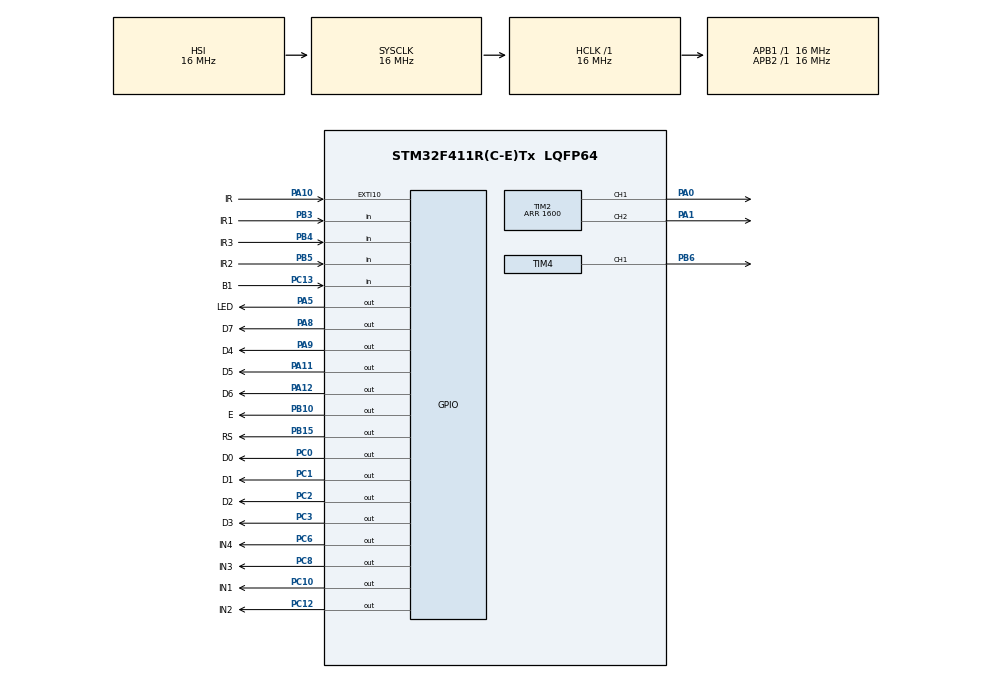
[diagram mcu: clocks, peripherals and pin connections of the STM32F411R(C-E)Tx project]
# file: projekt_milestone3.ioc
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Mcu.Family=STM32F4
Mcu.Name=STM32F411R(C-E)Tx
Mcu.Package=LQFP64
NVIC.EXTI15_10_IRQn=true\:0\:0\:false\:false\:true\:true\:true\:true
NVIC.PriorityGroup=NVIC_PRIORITYGROUP_4
PA0-WKUP.Signal=S_TIM2_CH1_ETR
PA1.Signal=S_TIM2_CH2
PA10.GPIO_Label=IR
PA10.GPIO_ModeDefaultEXTI=GPIO_MODE_IT_RISING_FALLING
PA10.Signal=GPXTI10
PA11.GPIO_Label=D5
PA11.Signal=GPIO_Output
PA12.GPIO_Label=D6
PA12.Signal=GPIO_Output
PA5.GPIO_Label=LED
PA5.Signal=GPIO_Output
PA8.GPIO_Label=D7
PA8.Signal=GPIO_Output
PA9.GPIO_Label=D4
PA9.Signal=GPIO_Output
PB10.GPIO_Label=E
PB10.Signal=GPIO_Output
PB15.GPIO_Label=RS
PB15.Signal=GPIO_Output
PB3.GPIO_Label=IR1
PB3.Signal=GPIO_Input
PB4.GPIO_Label=IR3
PB4.Signal=GPIO_Input
PB5.GPIO_Label=IR2
PB5.Signal=GPIO_Input
PB6.Signal=S_TIM4_CH1
PC0.GPIO_Label=D0
PC0.Signal=GPIO_Output
PC1.GPIO_Label=D1
PC1.Signal=GPIO_Output
PC10.GPIO_Label=IN1
PC10.Signal=GPIO_Output
PC12.GPIO_Label=IN2
PC12.Signal=GPIO_Output
PC13-ANTI_TAMP.GPIO_Label=B1
PC13-ANTI_TAMP.Signal=GPIO_Input
PC2.GPIO_Label=D2
PC2.Signal=GPIO_Output
PC3.GPIO_Label=D3
PC3.Signal=GPIO_Output
PC6.GPIO_Label=IN4
PC6.Signal=GPIO_Output
PC8.GPIO_Label=IN3
PC8.Signal=GPIO_Output
ProjectManager.HeapSize=0x200
ProjectManager.StackSize=0x400
ProjectManager.TargetToolchain=STM32CubeIDE
RCC.AHBFreq_Value=16000000
RCC.APB1Freq_Value=16000000
RCC.APB2Freq_Value=16000000
RCC.CortexFreq_Value=16000000
RCC.HSE_VALUE=25000000
RCC.HSI_VALUE=16000000
RCC.LSE_VALUE=32768
RCC.SYSCLKFreq_VALUE=16000000
RCC.VCOOutputFreq_Value=192000000
SH.S_TIM2_CH1_ETR.0=TIM2_CH1,PWM Generation1 CH1
SH.S_TIM2_CH2.0=TIM2_CH2,PWM Generation2 CH2
SH.S_TIM4_CH1.0=TIM4_CH1,PWM Generation1 CH1
TIM2.Channel-PWM\ Generation1\ CH1=TIM_CHANNEL_1
TIM2.Channel-PWM\ Generation2\ CH2=TIM_CHANNEL_2
TIM2.Period=1600
TIM3.Prescaler=15
TIM4.Channel-PWM\ Generation1\ CH1=TIM_CHANNEL_1
TIM4.Period=504
TIM4.Prescaler=71
VP_TIM2_VS_ClockSourceINT.Mode=Internal
VP_TIM3_VS_ClockSourceINT.Mode=Internal
VP_TIM4_VS_ClockSourceINT.Mode=Internal
board=custom

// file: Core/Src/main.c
/* USER CODE BEGIN Header */
/**
 ******************************************************************************
 * @file           : main.c
 * @brief          : Main program body
 ******************************************************************************
 * @attention
 *
 * Copyright (c) 2025 STMicroelectronics.
 * All rights reserved.
 *
 * This software is licensed under terms that can be found in the LICENSE file
 * in the root directory of this software component.
 * If no LICENSE file comes with this software, it is provided AS-IS.
 *
 ******************************************************************************
 */
/* USER CODE END Header */
#include "main.h"

/* USER CODE BEGIN Includes */
#include <string.h>
#include "stm32f4xx_hal.h"
#include <lcd_hd44780.h>
#include <stdio.h>
#include <stdbool.h>
/* USER CODE END Includes */

/* USER CODE BEGIN PD */
#define IR_RX_BUFFER_SIZE 100

#ifndef IR_Pin
#define IR_Pin GPIO_PIN_10
#endif
#ifndef IR_GPIO_Port
#define IR_GPIO_Port GPIOA
#endif

#define NEC_TIMEOUT_US 100000
#define NEC_FRAME_START_MIN_GAP_US 12000

#define NEC_AGC_MARK_MIN_US 8000
#define NEC_AGC_MARK_MAX_US 10000
#define NEC_AGC_SPACE_MIN_US 4000
#define NEC_AGC_SPACE_MAX_US 5000

#define NEC_BIT_MARK_MIN_US 400
#define NEC_BIT_MARK_MAX_US 750

#define NEC_BIT_0_SPACE_MIN_US 400
#define NEC_BIT_0_SPACE_MAX_US 750

#define NEC_BIT_1_SPACE_MIN_US 1500
#define NEC_BIT_1_SPACE_MAX_US 1900

#define NEC_PULSE_COUNT 67

#define NEC_REPEAT_SPACE_MIN_US 2000
#define NEC_REPEAT_SPACE_MAX_US 2500
#define NEC_REPEAT_PULSE_COUNT 3

#define TIM_IR_PRESCALER (15)

#define DISCRETE_CMD_MIN_INTERVAL_MS 400
/* USER CODE END PD */

TIM_HandleTypeDef htim2;
TIM_HandleTypeDef htim3;
TIM_HandleTypeDef htim4;

/* USER CODE BEGIN PV */
int lewy, prawy, srodek;
uint32_t duty = 1400;
#define DUTY_FAST 1400
#define DUTY_SLOW 1150
#define DUTY_STOP 0
int bitSkretu = 1;

volatile uint8_t control_mode = 0;

volatile uint32_t last_edge_time = 0;
volatile uint32_t pulse_widths[IR_RX_BUFFER_SIZE];
volatile uint8_t pulse_index = 0;
volatile bool ir_frame_ready = false;
volatile bool capture_started = false;

volatile bool ir_repeat_detected = false;
volatile uint32_t last_good_ir_code = 0xFFFFFFFF;

volatile bool is_moving_remotely = false;
volatile uint32_t last_remote_movement_command_time = 0;
#define REMOTE_MOVEMENT_TIMEOUT 300

uint32_t last_processed_discrete_ir_code = 0xFFFFFFFF;
uint32_t last_processed_discrete_ir_time = 0;

static bool lcd_initialized = false;

typedef struct
{
    uint16_t frequency; // Hz
    uint16_t duration;  // ms
} Note;

#define NOTE_C4 262
#define NOTE_D4 294
#define NOTE_E4 330
#define NOTE_F4 349
#define NOTE_G4 392
#define NOTE_A4 440
#define NOTE_B4 494
#define NOTE_C5 523
#define NOTE_D5 587
#define NOTE_E5 659
#define NOTE_F5 698
#define NOTE_G5 784
#define NOTE_A5 880
#define NOTE_B5 988
#define NOTE_C6 1047
#define NOTE_D6 1175
#define NOTE_REST 0

Note happy_bounce[] = {
    {NOTE_C5, 300}, {NOTE_REST, 50}, {NOTE_E5, 300}, {NOTE_REST, 50}, {NOTE_G5, 300}, {NOTE_REST, 50}, {NOTE_C6, 600}, {NOTE_REST, 100},

    {NOTE_B5, 300},
    {NOTE_REST, 50},
    {NOTE_G5, 300},
    {NOTE_REST, 50},
    {NOTE_E5, 300},
    {NOTE_REST, 50},
    {NOTE_C5, 600},
    {NOTE_REST, 100},

    {NOTE_D5, 300},
    {NOTE_REST, 50},
    {NOTE_F5, 300},
    {NOTE_REST, 50},
    {NOTE_A5, 300},
    {NOTE_REST, 50},
    {NOTE_B5, 300},
    {NOTE_REST, 50},
    {NOTE_C6, 600},
    {NOTE_REST, 100},

    {NOTE_C6, 150},
    {NOTE_B5, 150},
    {NOTE_A5, 150},
    {NOTE_G5, 150},
    {NOTE_F5, 150},
    {NOTE_E5, 150},
    {NOTE_D5, 150},
    {NOTE_C5, 600},
    {NOTE_REST, 200},

    {NOTE_REST, 0}};

/* USER CODE END PV */

void SystemClock_Config(void);
static void MX_GPIO_Init(void);
static void MX_TIM2_Init(void);
static void MX_TIM3_Init(void);
static void MX_TIM4_Init(void);
/* USER CODE BEGIN PFP */
void play_note(uint16_t freq, uint16_t duration_ms)
{
    if (freq == 0)
    {
        HAL_TIM_PWM_Stop(&htim4, TIM_CHANNEL_1);
        HAL_Delay(duration_ms);
        return;
    }

    uint32_t tim_clock = 16000000;
    uint16_t prescaler = 71;
    uint32_t period = (tim_clock / (prescaler + 1)) / freq - 1;

    __HAL_TIM_SET_PRESCALER(&htim4, prescaler);
    __HAL_TIM_SET_AUTORELOAD(&htim4, period);
    __HAL_TIM_SET_COMPARE(&htim4, TIM_CHANNEL_1, period / 2);
    HAL_TIM_PWM_Start(&htim4, TIM_CHANNEL_1);

    HAL_Delay(duration_ms);

    HAL_TIM_PWM_Stop(&htim4, TIM_CHANNEL_1);
}

void play_melody(Note *melody)
{
    for (int i = 0; melody[i].duration > 0; i++)
    {
        play_note(melody[i].frequency, melody[i].duration);
    }
}

uint32_t decode_nec(volatile uint32_t *pulses, uint8_t count);

void dzidaDoPrzodu(void)
{
    HAL_GPIO_WritePin(GPIOC, IN1_Pin, GPIO_PIN_SET);
    HAL_GPIO_WritePin(GPIOC, IN2_Pin, GPIO_PIN_RESET);
    HAL_GPIO_WritePin(GPIOC, IN3_Pin, GPIO_PIN_SET);
    HAL_GPIO_WritePin(GPIOC, IN4_Pin, GPIO_PIN_RESET);
    __HAL_TIM_SET_COMPARE(&htim2, TIM_CHANNEL_1, duty);
    __HAL_TIM_SET_COMPARE(&htim2, TIM_CHANNEL_2, duty);
}

void doTylu(void)
{
    HAL_GPIO_WritePin(GPIOC, IN1_Pin, GPIO_PIN_RESET);
    HAL_GPIO_WritePin(GPIOC, IN2_Pin, GPIO_PIN_SET);
    HAL_GPIO_WritePin(GPIOC, IN3_Pin, GPIO_PIN_RESET);
    HAL_GPIO_WritePin(GPIOC, IN4_Pin, GPIO_PIN_SET);
    __HAL_TIM_SET_COMPARE(&htim2, TIM_CHANNEL_1, duty);
    __HAL_TIM_SET_COMPARE(&htim2, TIM_CHANNEL_2, duty);
}

void skretWLewo(void)
{
    HAL_GPIO_WritePin(GPIOC, IN1_Pin, GPIO_PIN_RESET);
    HAL_GPIO_WritePin(GPIOC, IN2_Pin, GPIO_PIN_RESET);
    HAL_GPIO_WritePin(GPIOC, IN3_Pin, GPIO_PIN_SET);
    HAL_GPIO_WritePin(GPIOC, IN4_Pin, GPIO_PIN_RESET);
    __HAL_TIM_SET_COMPARE(&htim2, TIM_CHANNEL_1, duty);
    __HAL_TIM_SET_COMPARE(&htim2, TIM_CHANNEL_2, duty);
}

void skretWPrawo(void)
{
    HAL_GPIO_WritePin(GPIOC, IN1_Pin, GPIO_PIN_SET);
    HAL_GPIO_WritePin(GPIOC, IN2_Pin, GPIO_PIN_RESET);
    HAL_GPIO_WritePin(GPIOC, IN3_Pin, GPIO_PIN_RESET);
    HAL_GPIO_WritePin(GPIOC, IN4_Pin, GPIO_PIN_RESET);
    __HAL_TIM_SET_COMPARE(&htim2, TIM_CHANNEL_1, duty);
    __HAL_TIM_SET_COMPARE(&htim2, TIM_CHANNEL_2, duty);
}

void stop(void)
{
    HAL_GPIO_WritePin(GPIOC, IN1_Pin, GPIO_PIN_RESET);
    HAL_GPIO_WritePin(GPIOC, IN2_Pin, GPIO_PIN_RESET);
    HAL_GPIO_WritePin(GPIOC, IN3_Pin, GPIO_PIN_RESET);
    HAL_GPIO_WritePin(GPIOC, IN4_Pin, GPIO_PIN_RESET);
    __HAL_TIM_SET_COMPARE(&htim2, TIM_CHANNEL_1, 0);
    __HAL_TIM_SET_COMPARE(&htim2, TIM_CHANNEL_2, 0);
}

void lewy90(void)
{
    HAL_GPIO_WritePin(GPIOC, IN1_Pin, GPIO_PIN_RESET);
    HAL_GPIO_WritePin(GPIOC, IN2_Pin, GPIO_PIN_SET);
    HAL_GPIO_WritePin(GPIOC, IN3_Pin, GPIO_PIN_SET);
    HAL_GPIO_WritePin(GPIOC, IN4_Pin, GPIO_PIN_RESET);
    __HAL_TIM_SET_COMPARE(&htim2, TIM_CHANNEL_1, duty);
    __HAL_TIM_SET_COMPARE(&htim2, TIM_CHANNEL_2, duty);
}

void prawy90(void)
{
    HAL_GPIO_WritePin(GPIOC, IN1_Pin, GPIO_PIN_SET);
    HAL_GPIO_WritePin(GPIOC, IN2_Pin, GPIO_PIN_RESET);
    HAL_GPIO_WritePin(GPIOC, IN3_Pin, GPIO_PIN_RESET);
    HAL_GPIO_WritePin(GPIOC, IN4_Pin, GPIO_PIN_SET);
    __HAL_TIM_SET_COMPARE(&htim2, TIM_CHANNEL_1, duty);
    __HAL_TIM_SET_COMPARE(&htim2, TIM_CHANNEL_2, duty);
}

void searchLine(int lastTurnDirection)
{
    uint32_t search_duty = DUTY_SLOW;

    if (lastTurnDirection <= 0)
    {
        HAL_GPIO_WritePin(GPIOC, IN1_Pin, GPIO_PIN_SET);
        HAL_GPIO_WritePin(GPIOC, IN2_Pin, GPIO_PIN_RESET);
        HAL_GPIO_WritePin(GPIOC, IN3_Pin, GPIO_PIN_RESET);
        HAL_GPIO_WritePin(GPIOC, IN4_Pin, GPIO_PIN_SET);
    }
    else
    {
        HAL_GPIO_WritePin(GPIOC, IN1_Pin, GPIO_PIN_RESET);
        HAL_GPIO_WritePin(GPIOC, IN2_Pin, GPIO_PIN_SET);
        HAL_GPIO_WritePin(GPIOC, IN3_Pin, GPIO_PIN_SET);
        HAL_GPIO_WritePin(GPIOC, IN4_Pin, GPIO_PIN_RESET);
    }
    __HAL_TIM_SET_COMPARE(&htim2, TIM_CHANNEL_1, search_duty);
    __HAL_TIM_SET_COMPARE(&htim2, TIM_CHANNEL_2, search_duty);
}
/* USER CODE END PFP */

/* USER CODE BEGIN 0 */

void HAL_GPIO_EXTI_Callback(uint16_t GPIO_Pin)
{
    if (GPIO_Pin == IR_Pin)
    {
        if (ir_frame_ready || ir_repeat_detected)
            return;

        uint32_t now = __HAL_TIM_GET_COUNTER(&htim3);
        uint32_t duration = (uint16_t)(now - last_edge_time);

        if (duration > NEC_FRAME_START_MIN_GAP_US)
        {
            pulse_index = 0;
            capture_started = true;
            last_edge_time = now;
            return;
        }

        if (capture_started)
        {
            if (pulse_index < IR_RX_BUFFER_SIZE)
            {
                pulse_widths[pulse_index++] = duration;
            }
            else
            {
                capture_started = false;
                pulse_index = 0;
            }

            if (capture_started)
            {
                if (pulse_index == NEC_REPEAT_PULSE_COUNT)
                {
                    if ((pulse_widths[0] >= NEC_AGC_MARK_MIN_US && pulse_widths[0] <= NEC_AGC_MARK_MAX_US) &&
                        (pulse_widths[1] >= NEC_REPEAT_SPACE_MIN_US && pulse_widths[1] <= NEC_REPEAT_SPACE_MAX_US) &&
                        (pulse_widths[2] >= NEC_BIT_MARK_MIN_US && pulse_widths[2] <= NEC_BIT_MARK_MAX_US))
                    {
                        ir_repeat_detected = true;
                        capture_started = false;
                    }
                }

                if (!ir_repeat_detected && pulse_index >= NEC_PULSE_COUNT)
                {
                    ir_frame_ready = true;
                    capture_started = false;
                }
            }
        }
        last_edge_time = now;
    }
}

uint32_t decode_nec(volatile uint32_t *pulses, uint8_t count)
{
    if (count < NEC_PULSE_COUNT)
        return 0xFFFFFFFF;

    if (pulses[0] < NEC_AGC_MARK_MIN_US || pulses[0] > NEC_AGC_MARK_MAX_US)
        return 0xFFFFFFFF;
    if (pulses[1] < NEC_AGC_SPACE_MIN_US || pulses[1] > NEC_AGC_SPACE_MAX_US)
        return 0xFFFFFFFF;

    uint32_t decoded_code = 0;
    for (int i = 0; i < 32; i++)
    {
        uint32_t bit_mark = pulses[2 + (2 * i)];
        uint32_t bit_space = pulses[2 + (2 * i) + 1];

        if (bit_mark < NEC_BIT_MARK_MIN_US || bit_mark > NEC_BIT_MARK_MAX_US)
            return 0xFFFFFFFF;

        decoded_code <<= 1;
        if (bit_space >= NEC_BIT_1_SPACE_MIN_US && bit_space <= NEC_BIT_1_SPACE_MAX_US)
        {
            decoded_code |= 1;
        }
        else if (bit_space >= NEC_BIT_0_SPACE_MIN_US && bit_space <= NEC_BIT_0_SPACE_MAX_US)
        {
        }
        else
        {
            return 0xFFFFFFFF;
        }
    }
    return decoded_code;
}
/* USER CODE END 0 */

int main(void)
{

  /* USER CODE BEGIN 1 */
    char lcd_buf[17];
    char lcd_action_msg[17];
    char clear_line[17];
    memset(clear_line, ' ', 16);
    clear_line[16] = '\0';
  /* USER CODE END 1 */

  /* MCU Configuration--------------------------------------------------------*/

  /* Reset of all peripherals, Initializes the Flash interface and the Systick. */
  HAL_Init();

  /* Configure the system clock */
  SystemClock_Config();

  /* Initialize all configured peripherals */
  MX_GPIO_Init();
  MX_TIM2_Init();
  MX_TIM3_Init();
  MX_TIM4_Init();
  /* USER CODE BEGIN 2 */
    LCD_Init();
    LCD_DrawFace(1);
    HAL_Delay(1000);
    LCD_DrawFace(0);
    HAL_Delay(1000);
    LCD_DrawFace(2);
    HAL_Delay(1000);
    LCD_DrawFace(1);
    play_melody(happy_bounce);
    lcd_initialized = true;
    LCD_SetCursor(0, 0);
    LCD_SendString("PROJEKT SWIM");
    LCD_SetCursor(1, 0);
    LCD_SendString("Czekam na B1...");

    HAL_TIM_Base_Start(&htim3);
    __HAL_TIM_SET_COUNTER(&htim3, 0);
    last_edge_time = __HAL_TIM_GET_COUNTER(&htim3);
    pulse_index = 0;
    ir_frame_ready = false;
    ir_repeat_detected = false;
    capture_started = false;

    while (HAL_GPIO_ReadPin(B1_GPIO_Port, B1_Pin) == GPIO_PIN_SET)
    {
        HAL_Delay(100);
        HAL_GPIO_TogglePin(LED_GPIO_Port, LED_Pin);
    }
    HAL_GPIO_WritePin(LED_GPIO_Port, LED_Pin, GPIO_PIN_RESET);

    LCD_Clear();
    LCD_SetCursor(0, 0);
    LCD_SendString("Tryb: Auto");
    LCD_SetCursor(1, 0);
    LCD_SendString("Start!");
    HAL_Delay(1000);
    LCD_DrawFace(1);

    HAL_TIM_PWM_Start(&htim2, TIM_CHANNEL_1);
    HAL_TIM_PWM_Start(&htim2, TIM_CHANNEL_2);
    stop();
  /* USER CODE END 2 */

  /* Infinite loop */
  /* USER CODE BEGIN WHILE */
    while (1)
    {
        uint32_t ir_code_to_process = 0xFFFFFFFF;
        bool is_repeat_frame = false;

        if (ir_frame_ready)
        {
            uint32_t local_pulse_widths[IR_RX_BUFFER_SIZE];
            uint8_t local_pulse_count;

            HAL_NVIC_DisableIRQ(EXTI15_10_IRQn);

            local_pulse_count = pulse_index;
            memcpy(local_pulse_widths, (void *)pulse_widths, local_pulse_count * sizeof(uint32_t));

            pulse_index = 0;
            ir_frame_ready = false;
            HAL_NVIC_EnableIRQ(EXTI15_10_IRQn);

            uint32_t decoded_code = decode_nec(local_pulse_widths, local_pulse_count);

            if (decoded_code != 0xFFFFFFFF)
            {
                ir_code_to_process = decoded_code;
                last_good_ir_code = decoded_code;
                is_repeat_frame = false;
            }
            else
            {
                LCD_SetCursor(0, 0);
                LCD_SendString(clear_line);
                LCD_SetCursor(1, 0);
                LCD_SendString(clear_line);
                LCD_SetCursor(0, 0);
                LCD_SendString("Blad dekodowania");
            }
        }
        else if (ir_repeat_detected)
        {
            HAL_NVIC_DisableIRQ(EXTI15_10_IRQn);
            ir_repeat_detected = false;
            HAL_NVIC_EnableIRQ(EXTI15_10_IRQn);

            if (last_good_ir_code != 0xFFFFFFFF)
            {
                ir_code_to_process = last_good_ir_code;
                is_repeat_frame = true;
            }
            else
            {
            }
        }

        if (ir_code_to_process != 0xFFFFFFFF)
        {
            bool allow_processing = true;
            memset(lcd_action_msg, 0, sizeof(lcd_action_msg));

            LCD_SetCursor(0, 0);
            LCD_SendString(clear_line);
            LCD_SetCursor(1, 0);
            LCD_SendString(clear_line);
            LCD_SetCursor(0, 0);

            if (is_repeat_frame)
            {
                sprintf(lcd_buf, "IR RPT(0x%04X)", (unsigned int)(ir_code_to_process & 0xFFFF));
            }
            else
            {
                sprintf(lcd_buf, "IR:0x%08X", (unsigned int)ir_code_to_process);
            }
            LCD_SendString(lcd_buf);

            bool is_discrete_event_code =
                (ir_code_to_process == 0x00FF6897) ||
                (ir_code_to_process == 0x00FFB04F) ||
                (ir_code_to_process == 0x00FF38C7) ||
                (ir_code_to_process == 0x00FFA25D) ||
                (ir_code_to_process == 0x00FFE21D);

            if (is_discrete_event_code)
            {
                if (ir_code_to_process == last_processed_discrete_ir_code &&
                    (HAL_GetTick() - last_processed_discrete_ir_time < DISCRETE_CMD_MIN_INTERVAL_MS))
                {
                    allow_processing = false;
                    if (is_repeat_frame)
                        sprintf(lcd_action_msg, "Hold Ignored");
                    else
                        sprintf(lcd_action_msg, "Debounce Ignored");
                }
            }

            if (allow_processing)
            {
                bool discrete_action_has_been_processed_this_cycle = false;

                if (ir_code_to_process == 0x00FF6897)
                {
                    if (control_mode != 1)
                    {
                        control_mode = 1;
                        stop();
                        is_moving_remotely = false;
                    }
                    sprintf(lcd_action_msg, "Tryb: Zdalny");
                    discrete_action_has_been_processed_this_cycle = true;
                }
                else if (ir_code_to_process == 0x00FFB04F)
                {
                    if (control_mode != 0)
                    {
                        control_mode = 0;
                        stop();
                        is_moving_remotely = false;
                        bitSkretu = 0;
                    }
                    sprintf(lcd_action_msg, "Tryb: Auto");
                    discrete_action_has_been_processed_this_cycle = true;
                }
                else if (control_mode == 1)
                {
                    switch (ir_code_to_process)
                    {
                    case 0x00FF18E7:
                        dzidaDoPrzodu();
                        sprintf(lcd_action_msg, "Cmd: Naprzod");
                        is_moving_remotely = true;
                        last_remote_movement_command_time = HAL_GetTick();
                        break;
                    case 0x00FF4AB5:
                        doTylu();
                        sprintf(lcd_action_msg, "Cmd: Tyl");
                        is_moving_remotely = true;
                        last_remote_movement_command_time = HAL_GetTick();
                        break;
                    case 0x00FF10EF:
                        lewy90();
                        sprintf(lcd_action_msg, "Cmd: Obr Lewo");
                        is_moving_remotely = true;
                        last_remote_movement_command_time = HAL_GetTick();
                        break;
                    case 0x00FF5AA5:
                        prawy90();
                        sprintf(lcd_action_msg, "Cmd: Obr Prawo");
                        is_moving_remotely = true;
                        last_remote_movement_command_time = HAL_GetTick();
                        break;
                    case 0x00FF22DD:
                        skretWLewo();
                        sprintf(lcd_action_msg, "Cmd: Skret L");
                        is_moving_remotely = true;
                        last_remote_movement_command_time = HAL_GetTick();
                        break;
                    case 0x00FFC23D:
                        skretWPrawo();
                        sprintf(lcd_action_msg, "Cmd: Skret P");
                        is_moving_remotely = true;
                        last_remote_movement_command_time = HAL_GetTick();
                        break;

                    case 0x00FF38C7:
                        stop();
                        sprintf(lcd_action_msg, "Cmd: STOP");
                        is_moving_remotely = false;
                        discrete_action_has_been_processed_this_cycle = true;
                        break;
                    case 0x00FFA25D:
                        duty = DUTY_SLOW;
                        sprintf(lcd_action_msg, "Predk: Wolno");
                        if (is_moving_remotely)
                            last_remote_movement_command_time = HAL_GetTick();
                        discrete_action_has_been_processed_this_cycle = true;
                        break;
                    case 0x00FFE21D:
                        duty = DUTY_FAST;
                        sprintf(lcd_action_msg, "Predk: Szybko");
                        if (is_moving_remotely)
                            last_remote_movement_command_time = HAL_GetTick();
                        discrete_action_has_been_processed_this_cycle = true;
                        break;

                    default:
                        if (lcd_action_msg[0] == '\0')
                        {
                            sprintf(lcd_action_msg, "IR Kod ???");
                        }
                        break;
                    }
                }
                else
                {
                    if (lcd_action_msg[0] == '\0' &&
                        ir_code_to_process != 0x00FF6897 &&
                        ir_code_to_process != 0x00FFB04F)
                    {
                        sprintf(lcd_action_msg, "IR (Tryb Auto)");
                    }
                }

                if (discrete_action_has_been_processed_this_cycle)
                {
                    last_processed_discrete_ir_code = ir_code_to_process;
                    last_processed_discrete_ir_time = HAL_GetTick();
                }
            }

            if (lcd_action_msg[0] != '\0')
            {
                LCD_SetCursor(1, 0);
                LCD_SendString(lcd_action_msg);
            }
        }

        if (control_mode == 1)
        {
            if (is_moving_remotely && (HAL_GetTick() - last_remote_movement_command_time > REMOTE_MOVEMENT_TIMEOUT))
            {
                stop();
                is_moving_remotely = false;

                LCD_SetCursor(0, 0);
                LCD_SendString(clear_line);
                LCD_SetCursor(1, 0);
                LCD_SendString(clear_line);
                LCD_SetCursor(0, 0);
                LCD_SendString("Pilot Timeout!");
                LCD_SetCursor(1, 0);
                LCD_SendString("STOP");
            }
            HAL_Delay(20);
        }
        else
        {
        			lewy   = HAL_GPIO_ReadPin(IR1_GPIO_Port, IR1_Pin);
        		      srodek = HAL_GPIO_ReadPin(IR2_GPIO_Port, IR2_Pin);
        		      prawy  = HAL_GPIO_ReadPin(IR3_GPIO_Port, IR3_Pin);

        		      if (lewy && srodek && prawy) {
        		          duty = DUTY_SLOW;
        		          dzidaDoPrzodu();
        		      }
        		      else if (lewy && srodek && !prawy) {
        		          duty = DUTY_SLOW;
        		          skretWLewo();
        		          bitSkretu=1;
        		      }
        		      else if (prawy && srodek && !lewy) {
        		          duty = DUTY_SLOW;
        		          skretWPrawo();
        		          bitSkretu=-1;
        		      }
        		      else if (srodek && !lewy && !prawy) {
        		          duty = DUTY_SLOW;
        		          dzidaDoPrzodu();
        		      }
        		      else if (lewy && !srodek && !prawy) {
        		          duty = DUTY_SLOW;
        		          skretWLewo();
        		          bitSkretu=1;
        		      }
        		      else if (prawy && !srodek && !lewy) {
        		          duty = DUTY_SLOW;
        		          skretWPrawo();
        		          bitSkretu=-1;
        		      }
        		      else {
        		          duty = DUTY_SLOW;
        		          searchLine(bitSkretu);
        		      }

        		      HAL_Delay(50);
        }
    /* USER CODE END WHILE */

    }
}

void SystemClock_Config(void)
{
  RCC_OscInitTypeDef RCC_OscInitStruct = {0};
  RCC_ClkInitTypeDef RCC_ClkInitStruct = {0};

  /** Configure the main internal regulator output voltage
  */
  __HAL_RCC_PWR_CLK_ENABLE();
  __HAL_PWR_VOLTAGESCALING_CONFIG(PWR_REGULATOR_VOLTAGE_SCALE1);

  /** Initializes the RCC Oscillators according to the specified parameters
  * in the RCC_OscInitTypeDef structure.
  */
  RCC_OscInitStruct.OscillatorType = RCC_OSCILLATORTYPE_HSI;
  RCC_OscInitStruct.HSIState = RCC_HSI_ON;
  RCC_OscInitStruct.HSICalibrationValue = RCC_HSICALIBRATION_DEFAULT;
  RCC_OscInitStruct.PLL.PLLState = RCC_PLL_NONE;
  if (HAL_RCC_OscConfig(&RCC_OscInitStruct) != HAL_OK)
  {
    Error_Handler();
  }

  /** Initializes the CPU, AHB and APB buses clocks
  */
  RCC_ClkInitStruct.ClockType = RCC_CLOCKTYPE_HCLK|RCC_CLOCKTYPE_SYSCLK
                              |RCC_CLOCKTYPE_PCLK1|RCC_CLOCKTYPE_PCLK2;
  RCC_ClkInitStruct.SYSCLKSource = RCC_SYSCLKSOURCE_HSI;
  RCC_ClkInitStruct.AHBCLKDivider = RCC_SYSCLK_DIV1;
  RCC_ClkInitStruct.APB1CLKDivider = RCC_HCLK_DIV1;
  RCC_ClkInitStruct.APB2CLKDivider = RCC_HCLK_DIV1;

  if (HAL_RCC_ClockConfig(&RCC_ClkInitStruct, FLASH_LATENCY_0) != HAL_OK)
  {
    Error_Handler();
  }
}

static void MX_TIM2_Init(void)
{

  TIM_ClockConfigTypeDef sClockSourceConfig = {0};
  TIM_MasterConfigTypeDef sMasterConfig = {0};
  TIM_OC_InitTypeDef sConfigOC = {0};

  htim2.Instance = TIM2;
  htim2.Init.Prescaler = 0;
  htim2.Init.CounterMode = TIM_COUNTERMODE_UP;
  htim2.Init.Period = 1600;
  htim2.Init.ClockDivision = TIM_CLOCKDIVISION_DIV1;
  htim2.Init.AutoReloadPreload = TIM_AUTORELOAD_PRELOAD_DISABLE;
  if (HAL_TIM_Base_Init(&htim2) != HAL_OK)
  {
    Error_Handler();
  }
  sClockSourceConfig.ClockSource = TIM_CLOCKSOURCE_INTERNAL;
  if (HAL_TIM_ConfigClockSource(&htim2, &sClockSourceConfig) != HAL_OK)
  {
    Error_Handler();
  }
  if (HAL_TIM_PWM_Init(&htim2) != HAL_OK)
  {
    Error_Handler();
  }
  sMasterConfig.MasterOutputTrigger = TIM_TRGO_RESET;
  sMasterConfig.MasterSlaveMode = TIM_MASTERSLAVEMODE_DISABLE;
  if (HAL_TIMEx_MasterConfigSynchronization(&htim2, &sMasterConfig) != HAL_OK)
  {
    Error_Handler();
  }
  sConfigOC.OCMode = TIM_OCMODE_PWM1;
  sConfigOC.Pulse = 0;
  sConfigOC.OCPolarity = TIM_OCPOLARITY_HIGH;
  sConfigOC.OCFastMode = TIM_OCFAST_DISABLE;
  if (HAL_TIM_PWM_ConfigChannel(&htim2, &sConfigOC, TIM_CHANNEL_1) != HAL_OK)
  {
    Error_Handler();
  }
  if (HAL_TIM_PWM_ConfigChannel(&htim2, &sConfigOC, TIM_CHANNEL_2) != HAL_OK)
  {
    Error_Handler();
  }
  HAL_TIM_MspPostInit(&htim2);

}

static void MX_TIM3_Init(void)
{

  TIM_ClockConfigTypeDef sClockSourceConfig = {0};
  TIM_MasterConfigTypeDef sMasterConfig = {0};

  htim3.Instance = TIM3;
  htim3.Init.Prescaler = 15;
  htim3.Init.CounterMode = TIM_COUNTERMODE_UP;
  htim3.Init.Period = 65535;
  htim3.Init.ClockDivision = TIM_CLOCKDIVISION_DIV1;
  htim3.Init.AutoReloadPreload = TIM_AUTORELOAD_PRELOAD_DISABLE;
  if (HAL_TIM_Base_Init(&htim3) != HAL_OK)
  {
    Error_Handler();
  }
  sClockSourceConfig.ClockSource = TIM_CLOCKSOURCE_INTERNAL;
  if (HAL_TIM_ConfigClockSource(&htim3, &sClockSourceConfig) != HAL_OK)
  {
    Error_Handler();
  }
  sMasterConfig.MasterOutputTrigger = TIM_TRGO_RESET;
  sMasterConfig.MasterSlaveMode = TIM_MASTERSLAVEMODE_DISABLE;
  if (HAL_TIMEx_MasterConfigSynchronization(&htim3, &sMasterConfig) != HAL_OK)
  {
    Error_Handler();
  }

}

static void MX_TIM4_Init(void)
{

  TIM_ClockConfigTypeDef sClockSourceConfig = {0};
  TIM_MasterConfigTypeDef sMasterConfig = {0};
  TIM_OC_InitTypeDef sConfigOC = {0};

  htim4.Instance = TIM4;
  htim4.Init.Prescaler = 71;
  htim4.Init.CounterMode = TIM_COUNTERMODE_UP;
  htim4.Init.Period = 504;
  htim4.Init.ClockDivision = TIM_CLOCKDIVISION_DIV1;
  htim4.Init.AutoReloadPreload = TIM_AUTORELOAD_PRELOAD_DISABLE;
  if (HAL_TIM_Base_Init(&htim4) != HAL_OK)
  {
    Error_Handler();
  }
  sClockSourceConfig.ClockSource = TIM_CLOCKSOURCE_INTERNAL;
  if (HAL_TIM_ConfigClockSource(&htim4, &sClockSourceConfig) != HAL_OK)
  {
    Error_Handler();
  }
  if (HAL_TIM_PWM_Init(&htim4) != HAL_OK)
  {
    Error_Handler();
  }
  sMasterConfig.MasterOutputTrigger = TIM_TRGO_RESET;
  sMasterConfig.MasterSlaveMode = TIM_MASTERSLAVEMODE_DISABLE;
  if (HAL_TIMEx_MasterConfigSynchronization(&htim4, &sMasterConfig) != HAL_OK)
  {
    Error_Handler();
  }
  sConfigOC.OCMode = TIM_OCMODE_PWM1;
  sConfigOC.Pulse = 0;
  sConfigOC.OCPolarity = TIM_OCPOLARITY_HIGH;
  sConfigOC.OCFastMode = TIM_OCFAST_DISABLE;
  if (HAL_TIM_PWM_ConfigChannel(&htim4, &sConfigOC, TIM_CHANNEL_1) != HAL_OK)
  {
    Error_Handler();
  }
  HAL_TIM_MspPostInit(&htim4);

}

static void MX_GPIO_Init(void)
{
  GPIO_InitTypeDef GPIO_InitStruct = {0};

  /* GPIO Ports Clock Enable */
  __HAL_RCC_GPIOC_CLK_ENABLE();
  __HAL_RCC_GPIOA_CLK_ENABLE();
  __HAL_RCC_GPIOB_CLK_ENABLE();

  /*Configure GPIO pin Output Level */
  HAL_GPIO_WritePin(GPIOC, D0_Pin|D1_Pin|D2_Pin|D3_Pin
                          |IN4_Pin|IN3_Pin|IN1_Pin|IN2_Pin, GPIO_PIN_RESET);

  /*Configure GPIO pin Output Level */
  HAL_GPIO_WritePin(GPIOA, LED_Pin|D7_Pin|D4_Pin|D5_Pin
                          |D6_Pin, GPIO_PIN_RESET);

  /*Configure GPIO pin Output Level */
  HAL_GPIO_WritePin(GPIOB, E_Pin|RS_Pin, GPIO_PIN_RESET);

  /*Configure GPIO pin : B1_Pin */
  GPIO_InitStruct.Pin = B1_Pin;
  GPIO_InitStruct.Mode = GPIO_MODE_INPUT;
  GPIO_InitStruct.Pull = GPIO_NOPULL;
  HAL_GPIO_Init(B1_GPIO_Port, &GPIO_InitStruct);

  /*Configure GPIO pins : D0_Pin D1_Pin D2_Pin D3_Pin
                           IN4_Pin IN3_Pin IN1_Pin IN2_Pin */
  GPIO_InitStruct.Pin = D0_Pin|D1_Pin|D2_Pin|D3_Pin
                          |IN4_Pin|IN3_Pin|IN1_Pin|IN2_Pin;
  GPIO_InitStruct.Mode = GPIO_MODE_OUTPUT_PP;
  GPIO_InitStruct.Pull = GPIO_NOPULL;
  GPIO_InitStruct.Speed = GPIO_SPEED_FREQ_LOW;
  HAL_GPIO_Init(GPIOC, &GPIO_InitStruct);

  /*Configure GPIO pins : LED_Pin D7_Pin D4_Pin D5_Pin
                           D6_Pin */
  GPIO_InitStruct.Pin = LED_Pin|D7_Pin|D4_Pin|D5_Pin
                          |D6_Pin;
  GPIO_InitStruct.Mode = GPIO_MODE_OUTPUT_PP;
  GPIO_InitStruct.Pull = GPIO_NOPULL;
  GPIO_InitStruct.Speed = GPIO_SPEED_FREQ_LOW;
  HAL_GPIO_Init(GPIOA, &GPIO_InitStruct);

  /*Configure GPIO pins : E_Pin RS_Pin */
  GPIO_InitStruct.Pin = E_Pin|RS_Pin;
  GPIO_InitStruct.Mode = GPIO_MODE_OUTPUT_PP;
  GPIO_InitStruct.Pull = GPIO_NOPULL;
  GPIO_InitStruct.Speed = GPIO_SPEED_FREQ_LOW;
  HAL_GPIO_Init(GPIOB, &GPIO_InitStruct);

  /*Configure GPIO pin : IR_Pin */
  GPIO_InitStruct.Pin = IR_Pin;
  GPIO_InitStruct.Mode = GPIO_MODE_IT_RISING_FALLING;
  GPIO_InitStruct.Pull = GPIO_NOPULL;
  HAL_GPIO_Init(IR_GPIO_Port, &GPIO_InitStruct);

  /*Configure GPIO pins : IR1_Pin IR3_Pin IR2_Pin */
  GPIO_InitStruct.Pin = IR1_Pin|IR3_Pin|IR2_Pin;
  GPIO_InitStruct.Mode = GPIO_MODE_INPUT;
  GPIO_InitStruct.Pull = GPIO_NOPULL;
  HAL_GPIO_Init(GPIOB, &GPIO_InitStruct);

  /* EXTI interrupt init*/
  HAL_NVIC_SetPriority(EXTI15_10_IRQn, 0, 0);
  HAL_NVIC_EnableIRQ(EXTI15_10_IRQn);

}

void Error_Handler(void)
{
  /* USER CODE BEGIN Error_Handler_Debug */
    __disable_irq();

    LCD_Clear();
    LCD_SetCursor(0, 0);
    LCD_SendString("Error_Handler!");
    LCD_SetCursor(1, 0);
    LCD_SendString("System Zatrzymany");

    while (1)
    {
        HAL_GPIO_TogglePin(LED_GPIO_Port, LED_Pin);
        HAL_Delay(200);
    }
  /* USER CODE END Error_Handler_Debug */
}

#ifdef  USE_FULL_ASSERT
/**
  * @brief  Reports the name of the source file and the source line number
  *         where the assert_param error has occurred.
  * @param  file: pointer to the source file name
  * @param  line: assert_param error line source number
  * @retval None
  */
void assert_failed(uint8_t *file, uint32_t line)
{
  /* USER CODE BEGIN 6 */
    char msg[32];
    __disable_irq();

    if (lcd_initialized)
    {
        LCD_Clear();
        LCD_SetCursor(0, 0);
        LCD_SendString("ASSERT FAILED");
        LCD_SetCursor(1, 0);
        sprintf(msg, "Linia: %u", (unsigned int)line);
        LCD_SendString(msg);
    }
    while (1)
    {
        HAL_GPIO_TogglePin(LED_GPIO_Port, LED_Pin);
        HAL_Delay(100);
    }
  /* USER CODE END 6 */
}
#endif /* USE_FULL_ASSERT */
